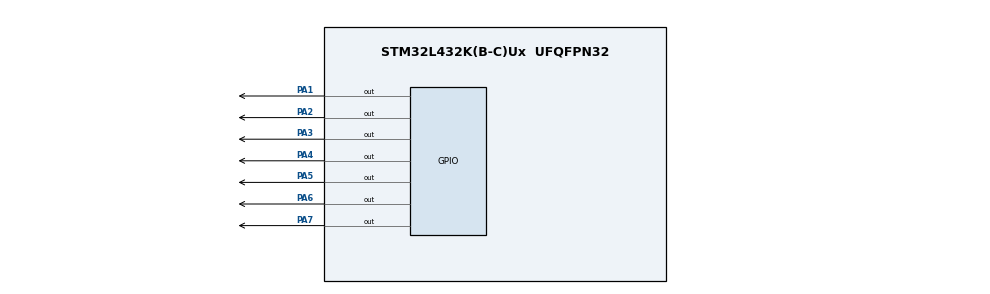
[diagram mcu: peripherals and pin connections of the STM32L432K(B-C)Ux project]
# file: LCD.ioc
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Mcu.Family=STM32L4
RCC.MSI_VALUE=4000000
PA14\ (JTCK-SWCLK).Mode=Serial_Wire
ProjectManager.StackSize=0x400
PA14\ (JTCK-SWCLK).Signal=SYS_JTCK-SWCLK
ProjectManager.TargetToolchain=STM32CubeIDE
RCC.LSE_VALUE=32768
PA1.Signal=GPIO_Output
PA5.Signal=GPIO_Output
RCC.HSE_VALUE=8000000
board=custom
RCC.VCOOutputFreq_Value=32000000
PA0.Mode=HSE-External-Clock-Source-for-LittleOrca
Mcu.Name=STM32L432K(B-C)Ux
VP_TIM1_VS_ClockSourceINT.Mode=Internal
PA2.Signal=GPIO_Output
PA0.Signal=RCC_CK_IN
PA13\ (JTMS-SWDIO).Mode=Serial_Wire
PA4.Signal=GPIO_Output
Mcu.Package=UFQFPN32
PA6.Signal=GPIO_Output
ProjectManager.HeapSize=0x200
RCC.HSI_VALUE=16000000
NVIC.PriorityGroup=NVIC_PRIORITYGROUP_4
PA13\ (JTMS-SWDIO).Signal=SYS_JTMS-SWDIO
RCC.HSI48_VALUE=48000000
PA3.Signal=GPIO_Output
PA7.Signal=GPIO_Output

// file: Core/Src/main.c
/* USER CODE BEGIN Header */
/**
  ******************************************************************************
  * @file           : main.c
  * @brief          : Main program body
  ******************************************************************************
  * @attention
  *
  * <h2><center>&copy; Copyright (c) 2021 STMicroelectronics.
  * All rights reserved.</center></h2>
  *
  * This software component is licensed by ST under BSD 3-Clause license,
  * the "License"; You may not use this file except in compliance with the
  * License. You may obtain a copy of the License at:
  *                        opensource.org/licenses/BSD-3-Clause
  *
  ******************************************************************************
  */
/* USER CODE END Header */
#include "main.h"

/* USER CODE BEGIN Includes */
#include "ADA181.h"

/* USER CODE END Includes */

TIM_HandleTypeDef htim1;

void SystemClock_Config(void);
static void MX_GPIO_Init(void);
static void MX_TIM1_Init(void);

int main(void)
{

  /* MCU Configuration--------------------------------------------------------*/

  /* Reset of all peripherals, Initializes the Flash interface and the Systick. */
  HAL_Init();

  /* Configure the system clock */
  SystemClock_Config();

  /* Initialize all configured peripherals */
  MX_GPIO_Init();
  MX_TIM1_Init();
  /* USER CODE BEGIN 2 */
  LCD_Init();

  LCD_SendString("EMBEDDED PROJECT");

  // Select CG-RAM and set address to 0x00
  LCD_SendCmd(0x40 + 0x00);
  HAL_Delay(4);

  // Define smile face
  LCD_SendData(0x00);
  LCD_SendData(0x0A);
  LCD_SendData(0x0A);
  LCD_SendData(0x0A);
  LCD_SendData(0x00);
  LCD_SendData(0x11);
  LCD_SendData(0x0E);
  LCD_SendData(0x00);

  // Select display RAM & set address to 0
  LCD_SendCmd(0x8A);
  HAL_Delay(4);

  // Display smile face
  // LCD_SendData(0x00);

  HAL_Delay(3000);

  LCD_SendCmd(0x01);
  LCD_SendString("LCD SCREEN!");

  /* USER CODE END 2 */

  /* Infinite loop */
  while (1)
  {

  }
}

void SystemClock_Config(void)
{
  RCC_OscInitTypeDef RCC_OscInitStruct = {0};
  RCC_ClkInitTypeDef RCC_ClkInitStruct = {0};

  /** Initializes the RCC Oscillators according to the specified parameters
  * in the RCC_OscInitTypeDef structure.
  */
  RCC_OscInitStruct.OscillatorType = RCC_OSCILLATORTYPE_MSI;
  RCC_OscInitStruct.MSIState = RCC_MSI_ON;
  RCC_OscInitStruct.MSICalibrationValue = 0;
  RCC_OscInitStruct.MSIClockRange = RCC_MSIRANGE_6;
  RCC_OscInitStruct.PLL.PLLState = RCC_PLL_NONE;
  if (HAL_RCC_OscConfig(&RCC_OscInitStruct) != HAL_OK)
  {
    Error_Handler();
  }
  /** Initializes the CPU, AHB and APB buses clocks
  */
  RCC_ClkInitStruct.ClockType = RCC_CLOCKTYPE_HCLK|RCC_CLOCKTYPE_SYSCLK
                              |RCC_CLOCKTYPE_PCLK1|RCC_CLOCKTYPE_PCLK2;
  RCC_ClkInitStruct.SYSCLKSource = RCC_SYSCLKSOURCE_MSI;
  RCC_ClkInitStruct.AHBCLKDivider = RCC_SYSCLK_DIV1;
  RCC_ClkInitStruct.APB1CLKDivider = RCC_HCLK_DIV1;
  RCC_ClkInitStruct.APB2CLKDivider = RCC_HCLK_DIV1;

  if (HAL_RCC_ClockConfig(&RCC_ClkInitStruct, FLASH_LATENCY_0) != HAL_OK)
  {
    Error_Handler();
  }
  /** Configure the main internal regulator output voltage
  */
  if (HAL_PWREx_ControlVoltageScaling(PWR_REGULATOR_VOLTAGE_SCALE1) != HAL_OK)
  {
    Error_Handler();
  }
}

static void MX_TIM1_Init(void)
{

  TIM_ClockConfigTypeDef sClockSourceConfig = {0};
  TIM_MasterConfigTypeDef sMasterConfig = {0};

  htim1.Instance = TIM1;
  htim1.Init.Prescaler = 0;
  htim1.Init.CounterMode = TIM_COUNTERMODE_UP;
  htim1.Init.Period = 65535;
  htim1.Init.ClockDivision = TIM_CLOCKDIVISION_DIV1;
  htim1.Init.RepetitionCounter = 0;
  htim1.Init.AutoReloadPreload = TIM_AUTORELOAD_PRELOAD_DISABLE;
  if (HAL_TIM_Base_Init(&htim1) != HAL_OK)
  {
    Error_Handler();
  }
  sClockSourceConfig.ClockSource = TIM_CLOCKSOURCE_INTERNAL;
  if (HAL_TIM_ConfigClockSource(&htim1, &sClockSourceConfig) != HAL_OK)
  {
    Error_Handler();
  }
  sMasterConfig.MasterOutputTrigger = TIM_TRGO_RESET;
  sMasterConfig.MasterOutputTrigger2 = TIM_TRGO2_RESET;
  sMasterConfig.MasterSlaveMode = TIM_MASTERSLAVEMODE_DISABLE;
  if (HAL_TIMEx_MasterConfigSynchronization(&htim1, &sMasterConfig) != HAL_OK)
  {
    Error_Handler();
  }

}

static void MX_GPIO_Init(void)
{
  GPIO_InitTypeDef GPIO_InitStruct = {0};

  /* GPIO Ports Clock Enable */
  __HAL_RCC_GPIOA_CLK_ENABLE();

  /*Configure GPIO pin Output Level */
  HAL_GPIO_WritePin(GPIOA, GPIO_PIN_1|GPIO_PIN_2|GPIO_PIN_3|GPIO_PIN_4
                          |GPIO_PIN_5|GPIO_PIN_6|GPIO_PIN_7, GPIO_PIN_RESET);

  /*Configure GPIO pins : PA1 PA2 PA3 PA4
                           PA5 PA6 PA7 */
  GPIO_InitStruct.Pin = GPIO_PIN_1|GPIO_PIN_2|GPIO_PIN_3|GPIO_PIN_4
                          |GPIO_PIN_5|GPIO_PIN_6|GPIO_PIN_7;
  GPIO_InitStruct.Mode = GPIO_MODE_OUTPUT_PP;
  GPIO_InitStruct.Pull = GPIO_NOPULL;
  GPIO_InitStruct.Speed = GPIO_SPEED_FREQ_LOW;
  HAL_GPIO_Init(GPIOA, &GPIO_InitStruct);

}

void Error_Handler(void)
{
  __disable_irq();
  while (1)
  {
  }
}

/************************ (C) COPYRIGHT STMicroelectronics *****END OF FILE****/
